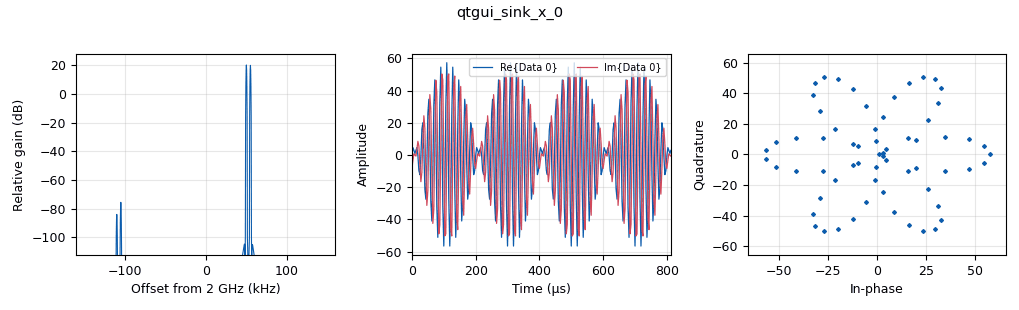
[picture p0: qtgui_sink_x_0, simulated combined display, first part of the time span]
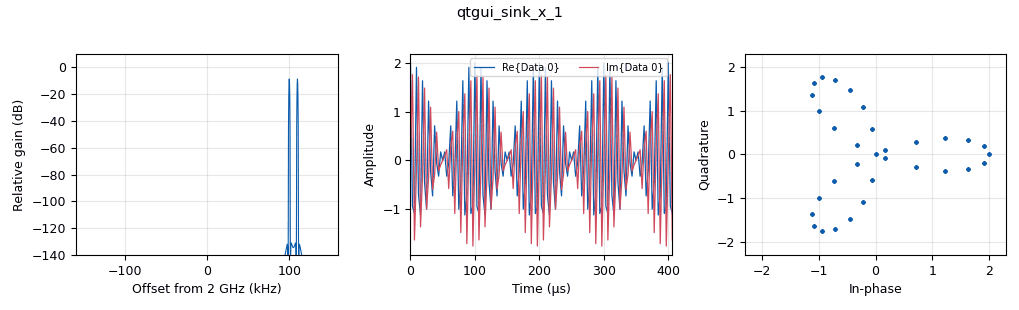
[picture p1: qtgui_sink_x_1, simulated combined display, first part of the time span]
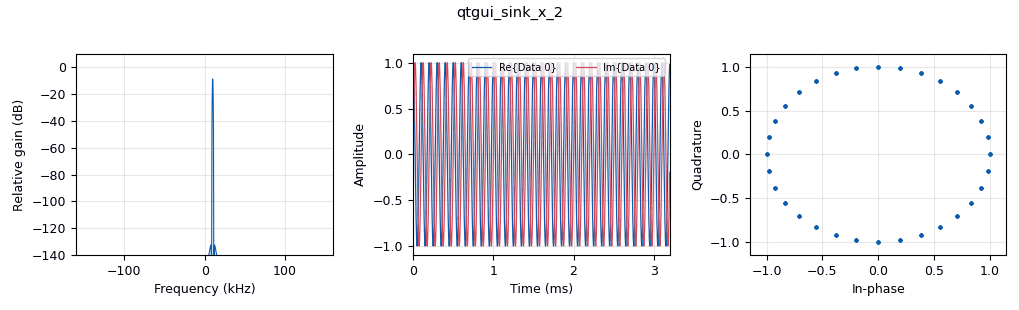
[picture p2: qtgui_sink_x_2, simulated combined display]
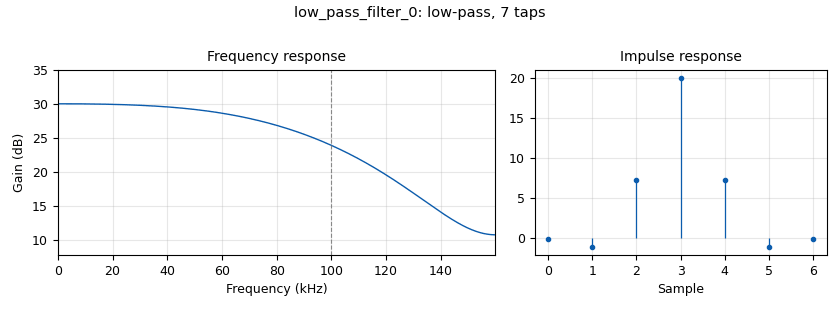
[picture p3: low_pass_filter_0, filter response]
<?xml version='1.0' encoding='utf-8'?>
<?grc format='1' created='3.7.13'?>
<flow_graph>
<block>
<key>options</key>
<param><key>id</key><value>top_block</value></param>
<param><key>generate_options</key><value>qt_gui</value></param>
</block>
<block>
<key>variable</key>
<param><key>id</key><value>samp_rate</value></param>
<param><key>value</key><value>320000</value></param>
</block>
<block>
<key>analog_sig_source_x</key>
<param><key>id</key><value>analog_sig_source_x_0</value></param>
<param><key>amp</key><value>1</value></param>
<param><key>freq</key><value>10000</value></param>
<param><key>offset</key><value>0</value></param>
<param><key>type</key><value>complex</value></param>
<param><key>samp_rate</key><value>samp_rate</value></param>
<param><key>waveform</key><value>analog.GR_COS_WAVE</value></param>
</block>
<block>
<key>analog_sig_source_x</key>
<param><key>id</key><value>analog_sig_source_x_1</value></param>
<param><key>amp</key><value>1</value></param>
<param><key>freq</key><value>100000</value></param>
<param><key>offset</key><value>0</value></param>
<param><key>type</key><value>complex</value></param>
<param><key>samp_rate</key><value>samp_rate</value></param>
<param><key>waveform</key><value>analog.GR_COS_WAVE</value></param>
</block>
<block>
<key>blocks_add_const_vxx</key>
<param><key>id</key><value>blocks_add_const_vxx_0</value></param>
<param><key>const</key><value>1</value></param>
<param><key>type</key><value>complex</value></param>
</block>
<block>
<key>blocks_multiply_xx</key>
<param><key>id</key><value>blocks_multiply_xx_0</value></param>
<param><key>type</key><value>complex</value></param>
</block>
<block>
<key>blocks_throttle</key>
<param><key>id</key><value>blocks_throttle_0</value></param>
<param><key>samples_per_second</key><value>samp_rate</value></param>
<param><key>type</key><value>complex</value></param>
</block>
<block>
<key>blocks_throttle</key>
<param><key>id</key><value>blocks_throttle_1</value></param>
<param><key>samples_per_second</key><value>samp_rate</value></param>
<param><key>type</key><value>complex</value></param>
</block>
<block>
<key>low_pass_filter</key>
<param><key>id</key><value>low_pass_filter_0</value></param>
<param><key>cutoff_freq</key><value>100000</value></param>
<param><key>decim</key><value>1</value></param>
<param><key>type</key><value>fir_filter_ccf</value></param>
<param><key>gain</key><value>32</value></param>
<param><key>samp_rate</key><value>samp_rate</value></param>
<param><key>width</key><value>100000</value></param>
<param><key>win</key><value>firdes.WIN_HAMMING</value></param>
</block>
<block>
<key>qtgui_sink_x</key>
<param><key>id</key><value>qtgui_sink_x_0</value></param>
<param><key>bw</key><value>samp_rate</value></param>
<param><key>fc</key><value>2e9</value></param>
<param><key>freqchangevar</key><value>None</value></param>
<param><key>fftsize</key><value>1024</value></param>
<param><key>showports</key><value>True</value></param>
<param><key>type</key><value>complex</value></param>
<param><key>wintype</key><value>firdes.WIN_BLACKMAN_hARRIS</value></param>
</block>
<block>
<key>qtgui_sink_x</key>
<param><key>id</key><value>qtgui_sink_x_1</value></param>
<param><key>bw</key><value>samp_rate</value></param>
<param><key>fc</key><value>2e9</value></param>
<param><key>freqchangevar</key><value>None</value></param>
<param><key>fftsize</key><value>1024</value></param>
<param><key>showports</key><value>True</value></param>
<param><key>type</key><value>complex</value></param>
<param><key>wintype</key><value>firdes.WIN_BLACKMAN_hARRIS</value></param>
</block>
<block>
<key>qtgui_sink_x</key>
<param><key>id</key><value>qtgui_sink_x_2</value></param>
<param><key>bw</key><value>samp_rate</value></param>
<param><key>fc</key><value>0</value></param>
<param><key>freqchangevar</key><value>None</value></param>
<param><key>fftsize</key><value>1024</value></param>
<param><key>showports</key><value>True</value></param>
<param><key>type</key><value>complex</value></param>
<param><key>wintype</key><value>firdes.WIN_BLACKMAN_hARRIS</value></param>
</block>
<block>
<key>rational_resampler_xxx</key>
<param><key>id</key><value>rational_resampler_xxx_0</value></param>
<param><key>decim</key><value>1</value></param>
<param><key>interp</key><value>2</value></param>
<param><key>taps</key><value></value></param>
<param><key>type</key><value>ccc</value></param>
</block>
<block>
<key>uhd_usrp_sink</key>
<param><key>id</key><value>uhd_usrp_sink_0</value></param>
<param><key>ant0</key><value>TX/RX</value></param>
<param><key>center_freq0</key><value>2e9</value></param>
<param><key>norm_gain0</key><value>False</value></param>
<param><key>gain0</key><value>32</value></param>
<param><key>clock_rate</key><value>0.0</value></param>
<param><key>dev_args</key><value>""</value></param>
<param><key>_enabled</key><value>0</value></param>
<param><key>type</key><value>fc32</value></param>
<param><key>samp_rate</key><value>samp_rate</value></param>
<param><key>hide_cmd_port</key><value>False</value></param>
<param><key>hide_lo_controls</key><value>True</value></param>
<param><key>sync</key><value></value></param>
<param><key>len_tag_name</key><value></value></param>
</block>
<block>
<key>uhd_usrp_source</key>
<param><key>id</key><value>uhd_usrp_source_0</value></param>
<param><key>ant0</key><value>TX/RX</value></param>
<param><key>center_freq0</key><value>2e9</value></param>
<param><key>dc_offs_enb0</key><value>""</value></param>
<param><key>iq_imbal_enb0</key><value>""</value></param>
<param><key>norm_gain0</key><value>False</value></param>
<param><key>gain0</key><value>32</value></param>
<param><key>clock_rate</key><value>0.0</value></param>
<param><key>dev_args</key><value>""</value></param>
<param><key>_enabled</key><value>0</value></param>
<param><key>type</key><value>fc32</value></param>
<param><key>samp_rate</key><value>samp_rate</value></param>
<param><key>hide_cmd_port</key><value>False</value></param>
<param><key>hide_lo_controls</key><value>True</value></param>
<param><key>sync</key><value></value></param>
</block>
<connection><source_block_id>analog_sig_source_x_0</source_block_id><sink_block_id>blocks_add_const_vxx_0</sink_block_id><source_key>0</source_key><sink_key>0</sink_key></connection>
<connection><source_block_id>analog_sig_source_x_0</source_block_id><sink_block_id>qtgui_sink_x_2</sink_block_id><source_key>0</source_key><sink_key>0</sink_key></connection>
<connection><source_block_id>analog_sig_source_x_1</source_block_id><sink_block_id>blocks_multiply_xx_0</sink_block_id><source_key>0</source_key><sink_key>1</sink_key></connection>
<connection><source_block_id>blocks_add_const_vxx_0</source_block_id><sink_block_id>blocks_multiply_xx_0</sink_block_id><source_key>0</source_key><sink_key>0</sink_key></connection>
<connection><source_block_id>blocks_multiply_xx_0</source_block_id><sink_block_id>blocks_throttle_0</sink_block_id><source_key>0</source_key><sink_key>0</sink_key></connection>
<connection><source_block_id>blocks_throttle_0</source_block_id><sink_block_id>qtgui_sink_x_1</sink_block_id><source_key>0</source_key><sink_key>0</sink_key></connection>
<connection><source_block_id>blocks_throttle_0</source_block_id><sink_block_id>rational_resampler_xxx_0</sink_block_id><source_key>0</source_key><sink_key>0</sink_key></connection>
<connection><source_block_id>blocks_throttle_0</source_block_id><sink_block_id>uhd_usrp_sink_0</sink_block_id><source_key>0</source_key><sink_key>0</sink_key></connection>
<connection><source_block_id>blocks_throttle_1</source_block_id><sink_block_id>qtgui_sink_x_0</sink_block_id><source_key>0</source_key><sink_key>0</sink_key></connection>
<connection><source_block_id>low_pass_filter_0</source_block_id><sink_block_id>blocks_throttle_1</sink_block_id><source_key>0</source_key><sink_key>0</sink_key></connection>
<connection><source_block_id>rational_resampler_xxx_0</source_block_id><sink_block_id>low_pass_filter_0</sink_block_id><source_key>0</source_key><sink_key>0</sink_key></connection>
<connection><source_block_id>uhd_usrp_source_0</source_block_id><sink_block_id>rational_resampler_xxx_0</sink_block_id><source_key>0</source_key><sink_key>0</sink_key></connection>
</flow_graph>
